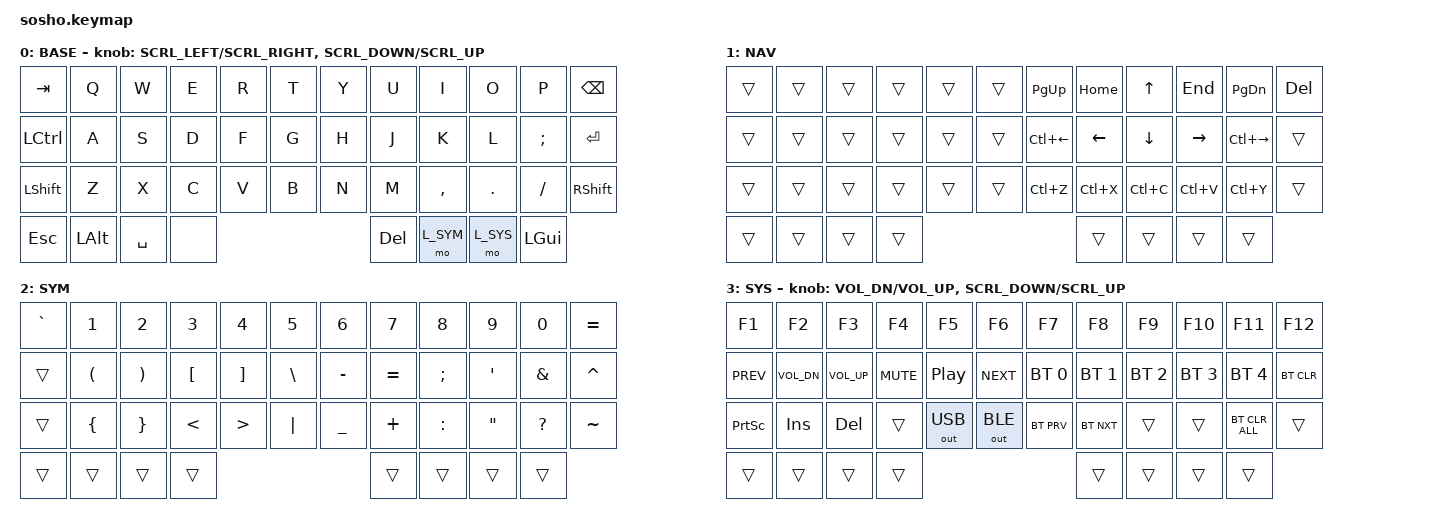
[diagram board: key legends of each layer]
// 船長版 So-Sho keymap v1.5.1
// 目標：保留 QWERTY 肌肉記憶，把 NAV / SYM / SYS 重新分工。
// 適用：右手 Trackball + 左手 Trackpad
// v1.5.1：補上 ZMK Studio layer 名稱；NAV Trackball scroll 由 1/4 降為 1/5。

#define ZMK_POINTING_DEFAULT_SCRL_VAL 150

#define L_BASE 0
#define L_NAV  1
#define L_SYM  2
#define L_SYS  3

#include <behaviors.dtsi>
#include <dt-bindings/zmk/bt.h>
#include <dt-bindings/zmk/keys.h>
#include <dt-bindings/zmk/pointing.h>
#include <dt-bindings/zmk/outputs.h>
#include <dt-bindings/zmk/input_transform.h>
#include <input/processors.dtsi>

/ {
    behaviors {
        ec_ms_l: ec_ms_h {
            compatible = "zmk,behavior-encoder-mouse-scroll";
            #sensor-binding-cells = <2>;
        };

        ec_ms_r: ec_ms_v {
            compatible = "zmk,behavior-encoder-mouse-scroll";
            #sensor-binding-cells = <2>;
        };
    };
};

// Encoder scroll: no acceleration.
&msc {
    time-to-max-speed-ms = <0>;
    acceleration-exponent = <0>;
};

// NAV layer: turn the right-hand trackball into a scroll wheel.
// The layer-specific override replaces the base listener processor list,
// so keep the stock X/Y inversion here before mapping XY -> wheel/HWheel.
// v1.5.1: reduce scroll speed from 1/4 to 1/5 after real-use feedback.
&trackball_listener {
    nav_scroll {
        layers = <L_NAV>;
        input-processors = <
            &zip_xy_transform (INPUT_TRANSFORM_X_INVERT | INPUT_TRANSFORM_Y_INVERT)
            &zip_xy_to_scroll_mapper
            &zip_scroll_scaler 1 5
        >;
    };
};


/ {
    macros {
        // X + C + V = double left click.
        // Keep the two clicks far enough apart to be reliably observed by the host.
        dblclk: dblclk {
            compatible = "zmk,behavior-macro";
            #binding-cells = <0>;
            wait-ms = <60>;
            tap-ms = <30>;
            bindings = <&mkp LCLK &mkp LCLK>;
        };
    };
};

/ {
    combos {
        compatible = "zmk,combos";

        // Mouse clicks moved to the left hand so the right hand can stay on the trackball.
        // v1.5 uses a 55 ms window for the whole X/C/V mouse-combo family.
        // X + C = Left click (left adjacent pair)
        combo_LCLK {
            timeout-ms = <55>;
            key-positions = <26 27>;
            bindings = <&mkp LCLK>;
            layers = <L_BASE>;
        };

        // C + V = Right click (right adjacent pair)
        combo_RCLK {
            timeout-ms = <55>;
            key-positions = <27 28>;
            bindings = <&mkp RCLK>;
            layers = <L_BASE>;
        };

        // X + V = Middle click (ring + index fingers)
        combo_MCLK {
            timeout-ms = <55>;
            key-positions = <26 28>;
            bindings = <&mkp MCLK>;
            layers = <L_BASE>;
        };

        // X + C + V = double left click.
        // This intentionally overlaps X+C (left click) and C+V (right click);
        // v1.4 is an A/B test of ZMK's fully-overlapping combo handling.
        combo_DBLCLK {
            timeout-ms = <55>;
            key-positions = <26 27 28>;
            bindings = <&dblclk>;
            layers = <L_BASE>;
        };

        // D + F = momentary NAV.
        // slow-release: after triggering with D+F, NAV remains active
        // until both combo keys are released.
        combo_NAV {
            timeout-ms = <40>;
            key-positions = <15 16>;
            bindings = <&mo L_NAV>;
            layers = <L_BASE>;
            slow-release;
        };
    };
};

/ {
    keymap {
        compatible = "zmk,keymap";

        /*
         * BASE
         *
         *  TAB    Q    W    E    R    T   |   Y    U    I    O    P   BSPC
         *  CTRL   A    S    D    F    G   |   H    J    K    L    ;   ENTER
         *  SHIFT  Z    X    C    V    B   |   N    M    ,    .    /   RSHIFT
         *  ESC   ALT       SPACE ----     |   DEL  SYM       SYS   GUI
         *
         * 與官方版相比：
         * - ; 回到 Base，對 C/C++ 比 ' 實用。
         * - Backspace 回到右上角；Delete 移到右拇指。
         * - Space 留在較順手的左拇指位置。
         * - 拇指 NAV 取消，改用左手 D+F combo 進入 NAV。
         * - SYM 由右拇指啟動，常用程式符號集中在左手。
         */
        default_layer {
            display-name = "BASE";
            bindings = <
                &kp TAB    &kp Q     &kp W     &kp E     &kp R     &kp T        &kp Y       &kp U     &kp I      &kp O      &kp P       &kp BSPC
                &kp LCTRL  &kp A     &kp S     &kp D     &kp F     &kp G        &kp H       &kp J     &kp K      &kp L      &kp SEMI    &kp ENTER
                &kp LSHFT  &kp Z     &kp X     &kp C     &kp V     &kp B        &kp N       &kp M     &kp COMMA  &kp DOT    &kp SLASH   &kp RSHFT
                &kp ESC    &kp LALT              &kp SPACE &none                &kp DEL      &mo L_SYM                &mo L_SYS &kp LGUI
            >;

            sensor-bindings = <
                &ec_ms_l SCRL_LEFT SCRL_RIGHT
                &ec_ms_r SCRL_DOWN SCRL_UP
            >;
        };

        /*
         * NAV
         * 左手 D+F combo 觸發 NAV，右手負責導航。
         * combo 使用 slow-release，可先 D+F 觸發，再只留其中一指壓住。
         *
         *  ----   ---- ---- ---- ---- ---- | PgUp  Home   Up    End   PgDn  Del
         *  ----   ---- ---- ---- ---- ---- | Ctrl← Left  Down  Right Ctrl→  ----
         *  ----   ---- ---- ---- ---- ---- | Undo  Cut   Copy  Paste Redo   ----
         *  ----   ----      ---- ----      | ----  ----      ----  ----
         */
        nav_layer {
            display-name = "NAV";
            bindings = <
                &trans      &trans       &trans       &trans       &trans       &trans        &kp PG_UP    &kp HOME      &kp UP        &kp END       &kp PG_DN     &kp DEL
                &trans      &trans       &trans       &trans       &trans       &trans        &kp LC(LEFT) &kp LEFT      &kp DOWN      &kp RIGHT     &kp LC(RIGHT) &trans
                &trans      &trans       &trans       &trans       &trans       &trans        &kp LC(Z)    &kp LC(X)     &kp LC(C)     &kp LC(V)     &kp LC(Y)     &trans
                &trans      &trans                    &trans       &trans                     &trans        &trans                      &trans          &trans
            >;
        };

        /*
         * SYM
         * 右拇指按住 SYM。
         *
         *  `      1    2    3    4    5   |   6    7    8    9    0     =
         *  ----   (    )    [    ]    \\   |   -    =    ;    '    &     ^
         *  ----   {    }    <    >    |   |   _    +    :    \"    ?     ~
         *  ----   ----      ---- ----      | ----  ----      ----  ----
         *
         * 括號與 delimiter 全放左手，右手只負責壓住 SYM。
         */
        sym_layer {
            display-name = "SYM";
            bindings = <
                &kp GRAVE  &kp N1    &kp N2    &kp N3    &kp N4    &kp N5       &kp N6     &kp N7     &kp N8     &kp N9     &kp N0      &kp EQUAL
                &trans     &kp LPAR  &kp RPAR  &kp LBKT  &kp RBKT  &kp BSLH     &kp MINUS  &kp EQUAL  &kp SEMI   &kp SQT    &kp AMPS    &kp CARET
                &trans     &kp LBRC  &kp RBRC  &kp LT    &kp GT    &kp PIPE     &kp UNDER  &kp PLUS   &kp COLON  &kp DQT    &kp QMARK   &kp TILDE
                &trans     &trans                &trans    &trans                 &trans      &trans                  &trans       &trans
            >;
        };

        /*
         * SYS
         * 低頻功能全部趕到這一層。
         *
         *  F1     F2   F3   F4   F5   F6  | F7    F8    F9    F10   F11   F12
         *  Prev   Vol- Vol+ Mute Play Next | BT0   BT1   BT2   BT3   BT4   BT_CLR
         *  PrtSc  Ins  Del  ---- USB  BLE  | BT←   BT→   ----  ---- CLRALL ----
         *  ----   ----      ---- ----      | ----  ----       ---- ----
         */
        sys_layer {
            display-name = "SYS";
            bindings = <
                &kp F1       &kp F2        &kp F3        &kp F4        &kp F5        &kp F6          &kp F7         &kp F8         &kp F9         &kp F10         &kp F11        &kp F12
                &kp C_PREV   &kp C_VOL_DN  &kp C_VOL_UP  &kp C_MUTE   &kp C_PP      &kp C_NEXT      &bt BT_SEL 0   &bt BT_SEL 1   &bt BT_SEL 2   &bt BT_SEL 3    &bt BT_SEL 4   &bt BT_CLR
                &kp PSCRN    &kp INS        &kp DEL       &trans        &out OUT_USB   &out OUT_BLE     &bt BT_PRV     &bt BT_NXT     &trans          &trans           &bt BT_CLR_ALL &trans
                &trans       &trans                        &trans        &trans                         &trans           &trans                           &trans          &trans
            >;

            // Left encoder becomes volume on SYS; right encoder keeps vertical scroll.
            sensor-bindings = <
                &inc_dec_kp C_VOL_DN C_VOL_UP
                &ec_ms_r SCRL_DOWN SCRL_UP
            >;
        };

        // Keep two reserved layers for later ZMK Studio experiments.
        scroll {
            display-name = "EXTRA1";
            status = "reserved";
        };

        extra2 {
            display-name = "EXTRA2";
            status = "reserved";
        };
    };
};
